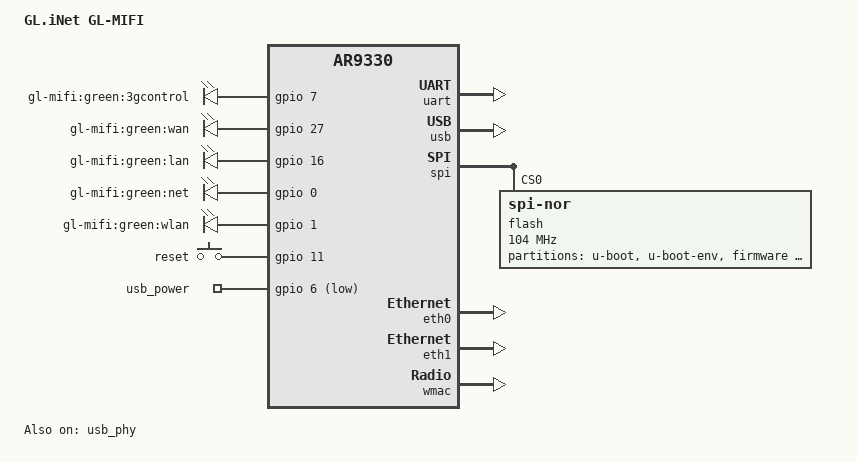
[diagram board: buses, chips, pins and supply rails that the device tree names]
// SPDX-License-Identifier: GPL-2.0-or-later OR MIT
/dts-v1/;

#include <dt-bindings/gpio/gpio.h>
#include <dt-bindings/input/input.h>

#include "ar9330_glinet.dtsi"

/ {
	model = "GL.iNet GL-MIFI";
	compatible = "glinet,gl-mifi", "qca,ar9330";

	aliases {
		serial0 = &uart;
	};

	leds {
		compatible = "gpio-leds";

		3gcontrol {
			label = "gl-mifi:green:3gcontrol";
			gpios = <&gpio 7 GPIO_ACTIVE_HIGH>;
		};

		wan {
			label = "gl-mifi:green:wan";
			gpios = <&gpio 27 GPIO_ACTIVE_HIGH>;
		};

		lan {
			label = "gl-mifi:green:lan";
			gpios = <&gpio 16 GPIO_ACTIVE_HIGH>;
		};

		net {
			label = "gl-mifi:green:net";
			gpios = <&gpio 0 GPIO_ACTIVE_HIGH>;
		};

		wlan {
			label = "gl-mifi:green:wlan";
			gpios = <&gpio 1 GPIO_ACTIVE_HIGH>;
			linux,default-trigger = "phy0tpt";
		};

	};

	keys {
		compatible = "gpio-keys-polled";
		poll-interval = <100>;

		reset {
			label = "reset";
			linux,code = <KEY_RESTART>;
			gpios = <&gpio 11 GPIO_ACTIVE_HIGH>;
		};
	};
    gpio-export {
        compatible = "gpio-export";
        gpio_usb_power {
            gpio-export,name = "usb_power";
            gpio-export,output = <0>;
            gpios = <&gpio 6 GPIO_ACTIVE_LOW>;
        };

     };
};

&uart {
	status = "okay";
};


&usb {
	#address-cells = <1>;
	#size-cells = <0>;
	status = "okay";

	hub_port: port@1 {
		reg = <1>;
		#trigger-source-cells = <0>;
	};
};
&usb_phy {
	status = "okay";
};

&spi {
	num-chipselects = <1>;
	status = "okay";

	flash@0 {
		compatible = "jedec,spi-nor";
		spi-max-frequency = <104000000>;
		reg = <0>;

		partitions {
			compatible = "fixed-partitions";
			#address-cells = <1>;
			#size-cells = <1>;

			partition@0 {
				label = "u-boot";
				reg = <0x000000 0x040000>;
				read-only;
			};

			partition@1 {
				label = "u-boot-env";
				reg = <0x040000 0x010000>;
			};

			partition@2 {
				compatible = "denx,uimage";
				label = "firmware";
				reg = <0x050000 0xfa0000>;
			};

			art: partition@3 {
				label = "art";
				reg = <0xff0000 0x010000>;
				read-only;
			};
		};
	};
};

&eth0 {
	status = "okay";

	mtd-mac-address = <&art 0x0>;
	ifname = "eth0";
};

&eth1 {
	status = "okay";

	mtd-mac-address = <&art 0x0>;
	ifname = "eth1";

	gmac-config {
		device = <&gmac>;

		switch-phy-addr-swap = <0>;
		switch-phy-swap = <0>;
	};
};

&wmac {
	status = "okay";
	mtd-cal-data = <&art 0x1000>;
	mtd-mac-address = <&art 0x0>;
};
